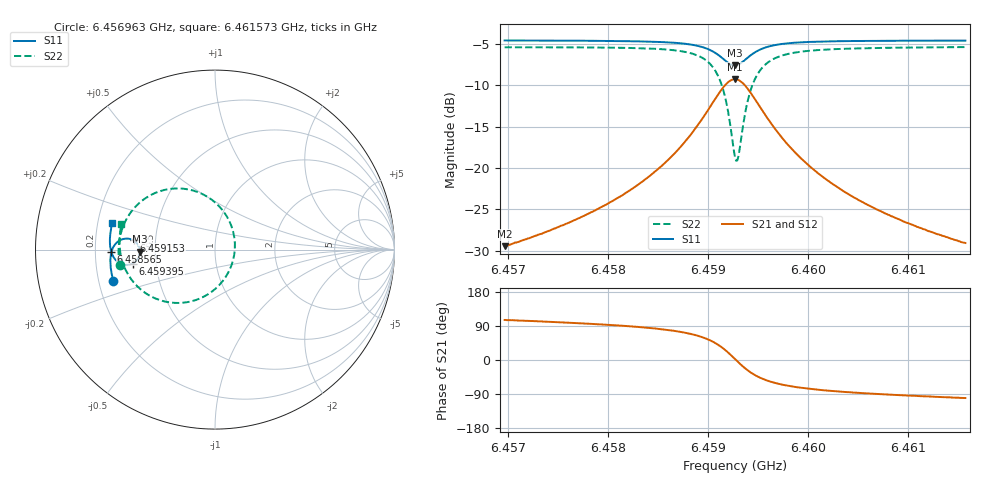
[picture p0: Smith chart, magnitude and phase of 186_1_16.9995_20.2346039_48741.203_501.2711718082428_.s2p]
#  HZ  S  RI  R  50.00
! Rohde & Schwarz Vector Network Analyzer
! Rohde-Schwarz,ZNB20-2Port,1311601062101988,3.16
! Created: UTC 3/20/2024, 11:00:21 PM
! freq[Hz]  re:S11  im:S11  re:S21  im:S21  re:S12  im:S12  re:S22  im:S22
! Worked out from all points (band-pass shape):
!   401 points, 6.456963 GHz to 6.461573 GHz, reference 50 ohm
!   highest |S21| = -9.24 dB at 6.459268 GHz (marker M1); lowest = -29.5 dB at 6.456963 GHz (marker M2)
!   |S21| within 3 dB of the highest: 6.459038 GHz to 6.459498 GHz (460.8 kHz wide, 0.00713 % of centre)
!   lowest |S11| = -7.6 dB at 6.459268 GHz (marker M3), VSWR 2.44, Z = 20.5 - j0.594 ohm
!   |S11| at or under -10 dB: nowhere
!   |S22| runs from -19.1 to -5.4 dB; largest |S21 - S12| = 0.013
!   S11 on the Smith chart (normalised r, x): 6.456963 GHz: 0.26, -0.14; 6.458565 GHz: 0.27, -0.01; 6.459153 GHz: 0.37, +0.05; 6.459395 GHz: 0.37, -0.07; 6.461573 GHz: 0.26, +0.12
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6.4569634e9  -0.5658 -0.1745  -0.00908 0.0324  -0.00731 0.0323  -0.5312 -0.0882
6.4577356e9  -0.5802 -0.1071  -0.00577 0.0504  -0.00334 0.0498  -0.5372 0.00188
6.4581389e9  -0.5833 -0.0668  -0.000579 0.0683  0.00274 0.0672  -0.5303 0.0651
6.4585077e9  -0.5796 -0.0231  0.0138 0.0988  0.0178 0.0959  -0.5046 0.1472
6.4585653e9  -0.5778 -0.0153  0.018 0.1056  0.022 0.1025  -0.4965 0.1637
6.4587728e9  -0.5649 0.0171  0.0454 0.138  0.0494 0.1332  -0.4453 0.2367
6.4589226e9  -0.5423 0.0435  0.0904 0.1687  0.0937 0.1621  -0.3623 0.3015
6.4590609e9  -0.4986 0.0612  0.1777 0.1855  0.1786 0.1784  -0.2035 0.3408
6.4591531e9  -0.4539 0.051  0.2676 0.1546  0.2678 0.1488  -0.0371 0.2911
6.4592222e9  -0.4248 0.019  0.3283 0.0831  0.3303 0.0776  0.0784 0.1621
6.4592683e9  -0.4179 -0.012  0.3447 0.0151  0.3484 0.00831  0.1107 0.0356
6.4592799e9  -0.4183 -0.0201  0.3445 -0.00253  0.3483 -0.0101  0.1105 0.00207
6.4593029e9  -0.4218 -0.0357  0.339 -0.0374  0.3429 -0.0462  0.0995 -0.0635
6.459349e9  -0.4374 -0.0617  0.3106 -0.0971  0.3128 -0.1088  0.0422 -0.1762
6.4593951e9  -0.4594 -0.078  0.2687 -0.138  0.268 -0.1512  -0.0423 -0.2509
6.4594873e9  -0.5027 -0.0849  0.1842 -0.1695  0.1782 -0.1807  -0.2102 -0.2972
6.4596371e9  -0.5464 -0.0645  0.0968 -0.156  0.0883 -0.1619  -0.3771 -0.2488
6.4597985e9  -0.5681 -0.0369  0.0518 -0.1281  0.0443 -0.1309  -0.4577 -0.1772
6.4600405e9  -0.581 -0.00131  0.0227 -0.0968  0.0168 -0.0975  -0.5057 -0.0953
6.4604093e9  -0.5857 0.0421  0.00585 -0.0689  0.002 -0.0684  -0.5281 -0.0119
6.4608126e9  -0.5838 0.0825  -0.00125 -0.0519  -0.00402 -0.0509  -0.532 0.0516
6.4615732e9  -0.5717 0.1499  -0.00632 -0.0346  -0.008 -0.0336  -0.5211 0.1413
